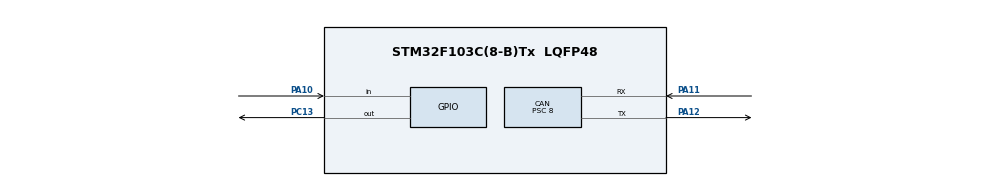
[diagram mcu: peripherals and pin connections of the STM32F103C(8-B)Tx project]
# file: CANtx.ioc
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CAN.CalculateBaudRate=333333
CAN.CalculateTimeBit=3000
CAN.CalculateTimeQuantum=1000.0
CAN.NART=ENABLE
CAN.Prescaler=8
Mcu.Family=STM32F1
Mcu.Name=STM32F103C(8-B)Tx
Mcu.Package=LQFP48
NVIC.PriorityGroup=NVIC_PRIORITYGROUP_4
PA10.GPIO_PuPd=GPIO_PULLUP
PA10.Signal=GPIO_Input
PA11.Mode=CAN_Activate
PA11.Signal=CAN_RX
PA12.Mode=CAN_Activate
PA12.Signal=CAN_TX
PA13.Mode=Serial_Wire
PA13.Signal=SYS_JTMS-SWDIO
PA14.Mode=Serial_Wire
PA14.Signal=SYS_JTCK-SWCLK
PC13-TAMPER-RTC.PinState=GPIO_PIN_SET
PC13-TAMPER-RTC.Signal=GPIO_Output
PD0-OSC_IN.Mode=HSE-External-Oscillator
PD0-OSC_IN.Signal=RCC_OSC_IN
PD1-OSC_OUT.Mode=HSE-External-Oscillator
PD1-OSC_OUT.Signal=RCC_OSC_OUT
ProjectManager.HeapSize=0x200
ProjectManager.StackSize=0x400
ProjectManager.TargetToolchain=STM32CubeIDE
RCC.APB1Freq_Value=8000000
RCC.APB2Freq_Value=8000000
board=custom

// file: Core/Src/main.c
/* USER CODE BEGIN Header */
/**
  ******************************************************************************
  * @file           : main.c
  * @brief          : Main program body
  ******************************************************************************
  * @attention
  *
  * Copyright (c) 2025 STMicroelectronics.
  * All rights reserved.
  *
  * This software is licensed under terms that can be found in the LICENSE file
  * in the root directory of this software component.
  * If no LICENSE file comes with this software, it is provided AS-IS.
  *
  ******************************************************************************
  */
/* USER CODE END Header */
#include "main.h"

CAN_HandleTypeDef hcan;

void SystemClock_Config(void);
static void MX_GPIO_Init(void);
static void MX_CAN_Init(void);

int main(void)
{

  /* MCU Configuration--------------------------------------------------------*/

  /* Reset of all peripherals, Initializes the Flash interface and the Systick. */
  HAL_Init();

  /* Configure the system clock */
  SystemClock_Config();

  /* Initialize all configured peripherals */
  MX_GPIO_Init();
  MX_CAN_Init();
  /* USER CODE BEGIN 2 */
  CAN_TxHeaderTypeDef   TxHeader;
  uint8_t               TxData[8];
  uint32_t              TxMailbox;
  TxHeader.IDE = CAN_ID_STD;
  TxHeader.StdId = 0x446;
  TxHeader.RTR = CAN_RTR_DATA;
  TxHeader.DLC = 2;

  TxData[0] = '1';

  CAN_FilterTypeDef canfilterconfig;

  canfilterconfig.FilterActivation = CAN_FILTER_ENABLE;
  canfilterconfig.FilterBank = 0;
  canfilterconfig.FilterFIFOAssignment = CAN_FILTER_FIFO0;
  canfilterconfig.FilterIdHigh = 0x400<<5;
  canfilterconfig.FilterIdLow = 0;
  canfilterconfig.FilterMaskIdHigh = 0x400<<5;
  canfilterconfig.FilterMaskIdLow = 0x0000;
  canfilterconfig.FilterMode = CAN_FILTERMODE_IDMASK;
  canfilterconfig.FilterScale = CAN_FILTERSCALE_32BIT;
  canfilterconfig.SlaveStartFilterBank = 14;

  HAL_CAN_ConfigFilter(&hcan, &canfilterconfig);
  HAL_CAN_Start(&hcan);
  /* USER CODE END 2 */

  /* Infinite loop */
  /* USER CODE BEGIN WHILE */
  while (1)
  {
	  if (HAL_GPIO_ReadPin(GPIOA, GPIO_PIN_10) == GPIO_PIN_RESET)
	     {
	         if (HAL_CAN_AddTxMessage(&hcan, &TxHeader, TxData, &TxMailbox) != HAL_OK)
	         {
	             Error_Handler();
	         }

	         HAL_Delay(200);
	     }

	     HAL_Delay(10);
    /* USER CODE END WHILE */

  }
}

void SystemClock_Config(void)
{
  RCC_OscInitTypeDef RCC_OscInitStruct = {0};
  RCC_ClkInitTypeDef RCC_ClkInitStruct = {0};

  /** Initializes the RCC Oscillators according to the specified parameters
  * in the RCC_OscInitTypeDef structure.
  */
  RCC_OscInitStruct.OscillatorType = RCC_OSCILLATORTYPE_HSI;
  RCC_OscInitStruct.HSIState = RCC_HSI_ON;
  RCC_OscInitStruct.HSICalibrationValue = RCC_HSICALIBRATION_DEFAULT;
  RCC_OscInitStruct.PLL.PLLState = RCC_PLL_NONE;
  if (HAL_RCC_OscConfig(&RCC_OscInitStruct) != HAL_OK)
  {
    Error_Handler();
  }

  /** Initializes the CPU, AHB and APB buses clocks
  */
  RCC_ClkInitStruct.ClockType = RCC_CLOCKTYPE_HCLK|RCC_CLOCKTYPE_SYSCLK
                              |RCC_CLOCKTYPE_PCLK1|RCC_CLOCKTYPE_PCLK2;
  RCC_ClkInitStruct.SYSCLKSource = RCC_SYSCLKSOURCE_HSI;
  RCC_ClkInitStruct.AHBCLKDivider = RCC_SYSCLK_DIV1;
  RCC_ClkInitStruct.APB1CLKDivider = RCC_HCLK_DIV1;
  RCC_ClkInitStruct.APB2CLKDivider = RCC_HCLK_DIV1;

  if (HAL_RCC_ClockConfig(&RCC_ClkInitStruct, FLASH_LATENCY_0) != HAL_OK)
  {
    Error_Handler();
  }
}

static void MX_CAN_Init(void)
{

  hcan.Instance = CAN1;
  hcan.Init.Prescaler = 8;
  hcan.Init.Mode = CAN_MODE_NORMAL;
  hcan.Init.SyncJumpWidth = CAN_SJW_1TQ;
  hcan.Init.TimeSeg1 = CAN_BS1_1TQ;
  hcan.Init.TimeSeg2 = CAN_BS2_1TQ;
  hcan.Init.TimeTriggeredMode = DISABLE;
  hcan.Init.AutoBusOff = DISABLE;
  hcan.Init.AutoWakeUp = DISABLE;
  hcan.Init.AutoRetransmission = ENABLE;
  hcan.Init.ReceiveFifoLocked = DISABLE;
  hcan.Init.TransmitFifoPriority = DISABLE;
  if (HAL_CAN_Init(&hcan) != HAL_OK)
  {
    Error_Handler();
  }

}

static void MX_GPIO_Init(void)
{
  GPIO_InitTypeDef GPIO_InitStruct = {0};

  /* GPIO Ports Clock Enable */
  __HAL_RCC_GPIOC_CLK_ENABLE();
  __HAL_RCC_GPIOD_CLK_ENABLE();
  __HAL_RCC_GPIOA_CLK_ENABLE();

  /*Configure GPIO pin Output Level */
  HAL_GPIO_WritePin(GPIOC, GPIO_PIN_13, GPIO_PIN_SET);

  /*Configure GPIO pin : PC13 */
  GPIO_InitStruct.Pin = GPIO_PIN_13;
  GPIO_InitStruct.Mode = GPIO_MODE_OUTPUT_PP;
  GPIO_InitStruct.Pull = GPIO_NOPULL;
  GPIO_InitStruct.Speed = GPIO_SPEED_FREQ_LOW;
  HAL_GPIO_Init(GPIOC, &GPIO_InitStruct);

  /*Configure GPIO pin : PA10 */
  GPIO_InitStruct.Pin = GPIO_PIN_10;
  GPIO_InitStruct.Mode = GPIO_MODE_INPUT;
  GPIO_InitStruct.Pull = GPIO_PULLUP;
  HAL_GPIO_Init(GPIOA, &GPIO_InitStruct);

}

void Error_Handler(void)
{
  __disable_irq();
  while (1)
  {
  }
}
